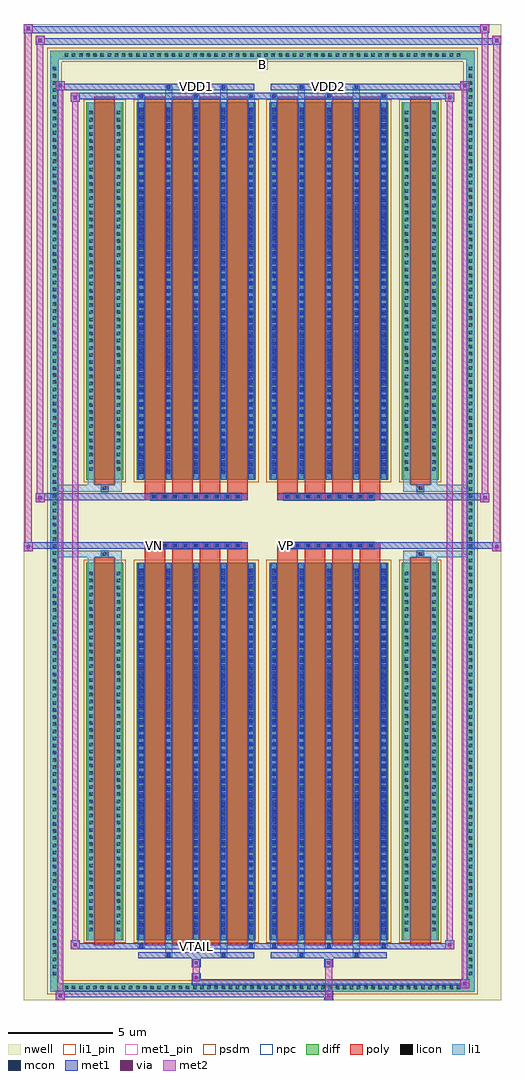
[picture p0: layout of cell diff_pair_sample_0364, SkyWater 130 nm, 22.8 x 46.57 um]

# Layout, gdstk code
import gdstk
lib = gdstk.Library(unit=1e-6, precision=5e-09)
def R(c, l, rs):  # rectangles x0, y0, x1, y1
    for r in rs: c.add(gdstk.rectangle(r[:2], r[2:], *l))
def A(c, l, x, y, w, h, nx, ny, dx, dy):  # array of equal rectangles
    R(c, l, [(x+i*dx, y+j*dy, x+i*dx+w, y+j*dy+h) for i in range(nx) for j in range(ny)])
def P(c, l, *ps):  # polygons
    for p in ps: c.add(gdstk.Polygon(p, *l))
nwell = (64, 20)
diff = (65, 20)
poly = (66, 20)
licon = (66, 44)
li1_pin = (67, 16)
li1 = (67, 20)
mcon = (67, 44)
met1_pin = (68, 16)
met1 = (68, 20)
via = (68, 44)
met2 = (69, 20)
psdm = (94, 20)
npc = (95, 20)

diff_pair_sample_0364 = lib.new_cell('diff_pair_sample_0364')
R(diff_pair_sample_0364, nwell, [(-11.4,-22.85,11.4,23.72), (-8.72,-21.04,-0.01,-0.8), (0.01,-21.04,8.72,-0.8), (-8.72,0.8,-0.01,21.04), (0.01,0.8,8.72,21.04)])
A(diff_pair_sample_0364, diff, -9.555, -22.45, 0.41, 0.41, 56, 2, 0.34, 44.49)
A(diff_pair_sample_0364, diff, -10.13, -21.795, 0.41, 0.41, 1, 128, 0, 0.34)
A(diff_pair_sample_0364, diff, 9.72, -21.795, 0.41, 0.41, 1, 128, 0, 0.34)
R(diff_pair_sample_0364, diff, [(-9.555,-22.45,9.555,-22.04), (-10.13,-21.795,-9.72,21.795), (9.72,-21.795,10.13,21.795), (-8.41,-19.995,-6.65,-1.985), (-6.01,-19.995,-0.32,-1.985), (0.32,-19.995,6.01,-1.985), (6.65,-19.995,8.41,-1.985), (-8.41,1.985,-6.65,19.995), (-6.01,1.985,-0.32,19.995), (0.32,1.985,6.01,19.995), (6.65,1.985,8.41,19.995), (-9.555,22.04,9.555,22.45)])
P(diff_pair_sample_0364, diff, [(10.13,22.45),(-10.13,22.45),(-10.13,-22.04),(-9.72,-22.04),(-9.72,22.04),(9.72,22.04),(9.72,-22.04),(-9.72,-22.04),(-10.13,-22.04),(-10.13,-22.45),(10.13,-22.45)])
A(diff_pair_sample_0364, poly, -5.62, -20.245, 0.98, 18.51, 4, 2, 1.31, 21.98)
A(diff_pair_sample_0364, poly, 0.71, -20.245, 0.98, 18.51, 4, 2, 1.31, 21.98)
A(diff_pair_sample_0364, poly, -5.62, -1.735, 0.98, 0.405, 4, 2, 1.31, 3.065)
A(diff_pair_sample_0364, poly, 0.71, -1.735, 0.98, 0.405, 4, 2, 1.31, 3.065)
A(diff_pair_sample_0364, poly, -5.33, -1.33, 0.33, 0.33, 9, 2, 0.5, 2.33)
A(diff_pair_sample_0364, poly, 1, -1.33, 0.33, 0.33, 9, 2, 0.5, 2.33)
R(diff_pair_sample_0364, poly, [(-8.02,-20.245,-7.04,-1.735), (7.04,-20.245,8.02,-1.735), (-7.695,-1.735,-7.365,-1.405), (-7.695,-1.735,-7.365,-1.405), (7.365,-1.735,7.695,-1.405), (7.365,-1.735,7.695,-1.405), (-5.62,-1.33,-0.71,-1), (0.71,-1.33,5.62,-1), (-5.62,1,-0.71,1.33), (0.71,1,5.62,1.33), (-7.695,1.405,-7.365,1.735), (-7.695,1.405,-7.365,1.735), (7.365,1.405,7.695,1.735), (7.365,1.405,7.695,1.735), (-8.02,1.735,-7.04,20.245), (7.04,1.735,8.02,20.245)])
A(diff_pair_sample_0364, licon, -9.435, -22.33, 0.17, 0.17, 56, 2, 0.34, 44.49)
A(diff_pair_sample_0364, licon, -10.01, -21.675, 0.17, 0.17, 1, 128, 0, 0.34)
A(diff_pair_sample_0364, licon, 9.84, -21.675, 0.17, 0.17, 1, 128, 0, 0.34)
A(diff_pair_sample_0364, licon, -8.27, -19.575, 0.17, 0.17, 1, 51, 0, 0.34)
A(diff_pair_sample_0364, licon, -6.96, -19.575, 0.17, 0.17, 1, 51, 0, 0.34)
A(diff_pair_sample_0364, licon, -5.87, -19.575, 0.17, 0.17, 5, 51, 1.31, 0.34)
A(diff_pair_sample_0364, licon, 0.46, -19.575, 0.17, 0.17, 5, 51, 1.31, 0.34)
A(diff_pair_sample_0364, licon, 6.79, -19.575, 0.17, 0.17, 1, 51, 0, 0.34)
A(diff_pair_sample_0364, licon, 8.1, -19.575, 0.17, 0.17, 1, 51, 0, 0.34)
A(diff_pair_sample_0364, licon, -5.25, -1.25, 0.17, 0.17, 9, 2, 0.5, 2.33)
A(diff_pair_sample_0364, licon, 1.08, -1.25, 0.17, 0.17, 9, 2, 0.5, 2.33)
A(diff_pair_sample_0364, licon, -8.27, 2.405, 0.17, 0.17, 1, 51, 0, 0.34)
A(diff_pair_sample_0364, licon, -6.96, 2.405, 0.17, 0.17, 1, 51, 0, 0.34)
A(diff_pair_sample_0364, licon, -5.87, 2.405, 0.17, 0.17, 5, 51, 1.31, 0.34)
A(diff_pair_sample_0364, licon, 0.46, 2.405, 0.17, 0.17, 5, 51, 1.31, 0.34)
A(diff_pair_sample_0364, licon, 6.79, 2.405, 0.17, 0.17, 1, 51, 0, 0.34)
A(diff_pair_sample_0364, licon, 8.1, 2.405, 0.17, 0.17, 1, 51, 0, 0.34)
R(diff_pair_sample_0364, licon, [(-7.615,-1.655,-7.445,-1.485), (7.445,-1.655,7.615,-1.485), (-7.615,1.485,-7.445,1.655), (7.445,1.485,7.615,1.655)])
R(diff_pair_sample_0364, li1_pin, [(-0.25,21.54,0.25,22.04)])
A(diff_pair_sample_0364, li1, -9.515, -22.41, 0.33, 0.33, 56, 2, 0.34, 44.49)
A(diff_pair_sample_0364, li1, -10.09, -21.755, 0.33, 0.33, 1, 128, 0, 0.34)
A(diff_pair_sample_0364, li1, 9.76, -21.755, 0.33, 0.33, 1, 128, 0, 0.34)
A(diff_pair_sample_0364, li1, -5.95, -20.37, 0.33, 0.375, 3, 2, 2.62, 40.365)
A(diff_pair_sample_0364, li1, -5.87, -20.37, 0.17, 0.17, 3, 2, 2.62, 40.57)
A(diff_pair_sample_0364, li1, 0.38, -20.37, 0.33, 0.375, 3, 2, 2.62, 40.365)
A(diff_pair_sample_0364, li1, 0.46, -20.37, 0.17, 0.17, 3, 2, 2.62, 40.57)
A(diff_pair_sample_0364, li1, -5.95, -19.995, 0.33, 18.01, 5, 2, 1.31, 21.98)
A(diff_pair_sample_0364, li1, 0.38, -19.995, 0.33, 18.01, 5, 2, 1.31, 21.98)
A(diff_pair_sample_0364, li1, -5.87, -19.715, 0.17, 0.17, 5, 49, 1.31, 0.36)
A(diff_pair_sample_0364, li1, -5.87, -19.715, 0.17, 17.45, 5, 2, 1.31, 21.98)
A(diff_pair_sample_0364, li1, 0.46, -19.715, 0.17, 0.17, 5, 49, 1.31, 0.36)
A(diff_pair_sample_0364, li1, 0.46, -19.715, 0.17, 17.45, 5, 2, 1.31, 21.98)
A(diff_pair_sample_0364, li1, -8.35, -19.655, 0.33, 0.33, 1, 51, 0, 0.34)
A(diff_pair_sample_0364, li1, -7.04, -19.655, 0.33, 0.33, 1, 51, 0, 0.34)
A(diff_pair_sample_0364, li1, -5.95, -19.655, 0.33, 0.33, 5, 51, 1.31, 0.34)
A(diff_pair_sample_0364, li1, 0.38, -19.655, 0.33, 0.33, 5, 51, 1.31, 0.34)
A(diff_pair_sample_0364, li1, 6.71, -19.655, 0.33, 0.33, 1, 51, 0, 0.34)
A(diff_pair_sample_0364, li1, 8.02, -19.655, 0.33, 0.33, 1, 51, 0, 0.34)
A(diff_pair_sample_0364, li1, -5.33, -1.33, 0.33, 0.33, 9, 2, 0.5, 2.33)
A(diff_pair_sample_0364, li1, 1, -1.33, 0.33, 0.33, 9, 2, 0.5, 2.33)
A(diff_pair_sample_0364, li1, -5.87, 2.265, 0.17, 0.17, 5, 49, 1.31, 0.36)
A(diff_pair_sample_0364, li1, 0.46, 2.265, 0.17, 0.17, 5, 49, 1.31, 0.36)
A(diff_pair_sample_0364, li1, -8.35, 2.325, 0.33, 0.33, 1, 51, 0, 0.34)
A(diff_pair_sample_0364, li1, -7.04, 2.325, 0.33, 0.33, 1, 51, 0, 0.34)
A(diff_pair_sample_0364, li1, -5.95, 2.325, 0.33, 0.33, 5, 51, 1.31, 0.34)
A(diff_pair_sample_0364, li1, 0.38, 2.325, 0.33, 0.33, 5, 51, 1.31, 0.34)
A(diff_pair_sample_0364, li1, 6.71, 2.325, 0.33, 0.33, 1, 51, 0, 0.34)
A(diff_pair_sample_0364, li1, 8.02, 2.325, 0.33, 0.33, 1, 51, 0, 0.34)
R(diff_pair_sample_0364, li1, [(-10.13,-22.45,-9.72,-22.04), (-10.13,-22.45,-9.72,-22.04), (-9.72,-22.45,9.72,-22.04), (9.72,-22.45,10.13,-22.04), (9.72,-22.45,10.13,-22.04), (-10.13,-22.04,-9.72,22.04), (9.72,-22.04,10.13,22.04), (-4.64,-20.8,-4.31,-19.995), (-4.56,-20.8,-4.39,-20.63), (-2.02,-20.8,-1.69,-19.995), (-1.94,-20.8,-1.77,-20.63), (1.69,-20.8,2.02,-19.995), (1.77,-20.8,1.94,-20.63), (4.31,-20.8,4.64,-19.995), (4.39,-20.8,4.56,-20.63), (-8.35,-19.995,-8.02,-1.985), (-7.04,-19.995,-6.71,-1.985), (6.71,-19.995,7.04,-1.985), (8.02,-19.995,8.35,-1.985), (-8.35,-1.985,-8.02,-1.405), (-7.04,-1.985,-6.71,-1.405), (6.71,-1.985,7.04,-1.405), (8.02,-1.985,8.35,-1.405), (-10.13,-1.735,-7.695,-1.405), (-8.35,-1.735,-7.695,-1.405), (-7.695,-1.735,-7.365,-1.405), (-7.365,-1.735,-6.71,-1.405), (6.71,-1.735,7.365,-1.405), (7.365,-1.735,7.695,-1.405), (7.365,-1.735,10.13,-1.405), (7.695,-1.735,8.35,-1.405), (-10.13,1.405,-7.695,1.735), (-8.35,1.405,-7.695,1.735), (-8.35,1.405,-8.02,1.985), (-7.695,1.405,-7.365,1.735), (-7.365,1.405,-6.71,1.735), (-7.04,1.405,-6.71,1.985), (6.71,1.405,7.365,1.735), (6.71,1.405,7.04,1.985), (7.365,1.405,7.695,1.735), (7.365,1.405,10.13,1.735), (7.695,1.405,8.35,1.735), (8.02,1.405,8.35,1.985), (-8.35,1.985,-8.02,19.995), (-7.04,1.985,-6.71,19.995), (6.71,1.985,7.04,19.995), (8.02,1.985,8.35,19.995), (-4.64,19.995,-4.31,20.8), (-2.02,19.995,-1.69,20.8), (1.69,19.995,2.02,20.8), (4.31,19.995,4.64,20.8), (-4.56,20.63,-4.39,20.8), (-1.94,20.63,-1.77,20.8), (1.77,20.63,1.94,20.8), (4.39,20.63,4.56,20.8), (-10.13,22.04,-9.72,22.45), (-10.13,22.04,-9.72,22.45), (-9.72,22.04,9.72,22.45), (9.72,22.04,10.13,22.45), (9.72,22.04,10.13,22.45)])
A(diff_pair_sample_0364, mcon, -5.87, -20.37, 0.17, 0.17, 3, 2, 2.62, 40.57)
A(diff_pair_sample_0364, mcon, 0.46, -20.37, 0.17, 0.17, 3, 2, 2.62, 40.57)
A(diff_pair_sample_0364, mcon, -5.87, -19.715, 0.17, 0.17, 5, 49, 1.31, 0.36)
A(diff_pair_sample_0364, mcon, 0.46, -19.715, 0.17, 0.17, 5, 49, 1.31, 0.36)
A(diff_pair_sample_0364, mcon, -5.25, -1.25, 0.17, 0.17, 9, 2, 0.5, 2.33)
A(diff_pair_sample_0364, mcon, 1.08, -1.25, 0.17, 0.17, 9, 2, 0.5, 2.33)
A(diff_pair_sample_0364, mcon, -5.87, 2.265, 0.17, 0.17, 5, 49, 1.31, 0.36)
A(diff_pair_sample_0364, mcon, 0.46, 2.265, 0.17, 0.17, 5, 49, 1.31, 0.36)
R(diff_pair_sample_0364, mcon, [(-4.56,-20.8,-4.39,-20.63), (-1.94,-20.8,-1.77,-20.63), (1.77,-20.8,1.94,-20.63), (4.39,-20.8,4.56,-20.63), (-4.56,20.63,-4.39,20.8), (-1.94,20.63,-1.77,20.8), (1.77,20.63,1.94,20.8), (4.39,20.63,4.56,20.8)])
R(diff_pair_sample_0364, met1_pin, [(-3.3,-20.41,-3.03,-20.14), (-5.3,-1.29,-5.03,-1.02), (1.03,-1.29,1.3,-1.02), (-3.3,20.59,-3.03,20.86), (3.03,20.59,3.3,20.86)])
A(diff_pair_sample_0364, met1, -5.93, -20.43, 0.29, 0.29, 3, 2, 2.62, 40.57)
A(diff_pair_sample_0364, met1, 0.4, -20.43, 0.29, 0.29, 3, 2, 2.62, 40.57)
A(diff_pair_sample_0364, met1, -5.93, -19.995, 0.29, 18.01, 5, 2, 1.31, 21.98)
A(diff_pair_sample_0364, met1, 0.4, -19.995, 0.29, 18.01, 5, 2, 1.31, 21.98)
A(diff_pair_sample_0364, met1, -5.93, -19.775, 0.29, 0.29, 5, 49, 1.31, 0.36)
A(diff_pair_sample_0364, met1, 0.4, -19.775, 0.29, 0.29, 5, 49, 1.31, 0.36)
A(diff_pair_sample_0364, met1, -5.31, -1.31, 0.29, 0.29, 9, 2, 0.5, 2.33)
A(diff_pair_sample_0364, met1, 1.02, -1.31, 0.29, 0.29, 9, 2, 0.5, 2.33)
A(diff_pair_sample_0364, met1, -5.93, 2.205, 0.29, 0.29, 5, 49, 1.31, 0.36)
A(diff_pair_sample_0364, met1, 0.4, 2.205, 0.29, 0.29, 5, 49, 1.31, 0.36)
R(diff_pair_sample_0364, met1, [(-9.86,-22.85,-9.43,-22.42), (2.95,-22.85,3.38,-22.42), (-9.86,-22.71,3.38,-22.42), (9.43,-22.28,9.86,-21.85), (-3.38,-22.14,9.86,-21.85), (-3.38,-22,-2.95,-21.57), (-3.38,-21.29,-2.95,-20.86), (2.95,-21.29,3.38,-20.86), (-5.93,-20.86,-0.4,-20.57), (-4.62,-20.86,-4.33,-20.57), (-2,-20.86,-1.71,-20.57), (0.4,-20.86,5.93,-20.57), (1.71,-20.86,2,-20.57), (4.33,-20.86,4.62,-20.57), (-9.15,-20.43,-8.72,-20), (-9.15,-20.43,-5.93,-20.14), (-5.93,-20.43,-0.4,-20.14), (-0.4,-20.43,0.4,-20.14), (0.4,-20.43,5.93,-20.14), (5.93,-20.43,9.15,-20.14), (8.72,-20.43,9.15,-20), (-11.4,-1.43,-10.97,-1), (10.97,-1.43,11.4,-1), (-11.4,-1.33,-0.71,-1), (-5.62,-1.33,-0.71,-1), (0.71,-1.33,5.62,-1), (0.71,-1.33,11.4,-1), (-10.83,0.9,-10.4,1.33), (10.4,0.9,10.83,1.33), (-10.83,1,-5.62,1.33), (-5.62,1,-0.71,1.33), (0.71,1,5.62,1.33), (5.62,1,10.83,1.33), (-9.15,20,-8.72,20.43), (8.72,20,9.15,20.43), (-9.15,20.14,-5.93,20.43), (-5.93,20.14,-0.4,20.43), (-0.4,20.14,0.4,20.43), (0.4,20.14,5.93,20.43), (5.93,20.14,9.15,20.43), (-9.86,20.57,-9.43,21), (-9.86,20.57,-5.93,20.86), (-5.93,20.57,-0.4,20.86), (-4.62,20.57,-4.33,20.86), (-2,20.57,-1.71,20.86), (0.4,20.57,5.93,20.86), (1.71,20.57,2,20.86), (4.33,20.57,4.62,20.86), (5.93,20.57,9.86,20.86), (9.43,20.57,9.86,21), (-10.83,22.72,-10.4,23.15), (-10.83,22.72,-8.72,23.05), (-8.72,22.72,8.72,23.05), (8.72,22.72,11.4,23.05), (10.97,22.72,11.4,23.15), (-11.4,23.29,-10.97,23.72), (-11.4,23.29,-8.72,23.62), (-8.72,23.29,8.72,23.62), (8.72,23.29,10.83,23.62), (10.4,23.29,10.83,23.72)])
R(diff_pair_sample_0364, via, [(-9.72,-22.71,-9.57,-22.56), (3.09,-22.71,3.24,-22.56), (9.57,-22.14,9.72,-21.99), (-3.24,-21.86,-3.09,-21.71), (-3.24,-21.15,-3.09,-21), (3.09,-21.15,3.24,-21), (-9.01,-20.29,-8.86,-20.14), (8.86,-20.29,9.01,-20.14), (-11.26,-1.29,-11.11,-1.14), (11.11,-1.29,11.26,-1.14), (-10.69,1.04,-10.54,1.19), (10.54,1.04,10.69,1.19), (-9.01,20.14,-8.86,20.29), (8.86,20.14,9.01,20.29), (-9.72,20.71,-9.57,20.86), (9.57,20.71,9.72,20.86), (-10.69,22.86,-10.54,23.01), (11.11,22.86,11.26,23.01), (-11.26,23.43,-11.11,23.58), (10.54,23.43,10.69,23.58)])
R(diff_pair_sample_0364, met2, [(-9.86,-22.85,-9.43,-22.42), (-9.79,-22.85,-9.5,21), (-9.5,-22.85,-9.43,-22.42), (-9.81,-22.8,-9.48,-22.47), (3,-22.8,3.33,-22.47), (3,-22.47,3.33,-21.24), (9.43,-22.28,9.86,-21.85), (9.5,-22.28,9.79,21), (9.79,-22.28,9.86,-21.85), (9.48,-22.23,9.81,-21.9), (-3.33,-21.95,-3,-21.62), (-3.33,-21.62,-3,-21.24), (-3.33,-21.24,-3,-20.91), (3,-21.24,3.33,-20.91), (-9.15,-20.43,-8.72,-20), (-9.08,-20.43,-8.79,20.43), (-8.79,-20.43,-8.72,-20), (8.72,-20.43,9.15,-20), (8.79,-20.43,9.08,20.43), (9.08,-20.43,9.15,-20), (-9.1,-20.38,-8.77,-20.05), (8.77,-20.38,9.1,-20.05), (-11.4,-1.43,-10.97,-1), (-11.35,-1.43,-11.02,23.72), (-11.02,-1.43,-10.97,-1), (10.97,-1.43,11.4,-1), (11.02,-1.43,11.35,23.15), (11.35,-1.43,11.4,-1), (-11.35,-1.38,-11.02,-1.05), (11.02,-1.38,11.35,-1.05), (-10.83,0.9,-10.4,1.33), (-10.78,0.9,-10.45,23.15), (-10.45,0.9,-10.4,1.33), (10.4,0.9,10.83,1.33), (10.45,0.9,10.78,23.72), (10.78,0.9,10.83,1.33), (-10.78,0.95,-10.45,1.28), (10.45,0.95,10.78,1.28), (-9.15,20,-8.72,20.43), (-8.79,20,-8.72,20.43), (8.72,20,9.15,20.43), (9.08,20,9.15,20.43), (-9.1,20.05,-8.77,20.38), (8.77,20.05,9.1,20.38), (-9.86,20.57,-9.43,21), (-9.5,20.57,-9.43,21), (9.43,20.57,9.86,21), (9.79,20.57,9.86,21), (-9.81,20.62,-9.48,20.95), (9.48,20.62,9.81,20.95), (-10.83,22.72,-10.4,23.15), (-10.45,22.72,-10.4,23.15), (10.97,22.72,11.4,23.15), (11.35,22.72,11.4,23.15), (-10.78,22.77,-10.45,23.1), (11.02,22.77,11.35,23.1), (-11.4,23.29,-10.97,23.72), (-11.02,23.29,-10.97,23.72), (10.4,23.29,10.83,23.72), (10.78,23.29,10.83,23.72), (-11.35,23.34,-11.02,23.67), (10.45,23.34,10.78,23.67)])
R(diff_pair_sample_0364, psdm, [(-8.54,-20.125,-6.52,-1.855), (-6.14,-20.125,-0.19,-1.855), (0.19,-20.125,6.14,-1.855), (6.52,-20.125,8.54,-1.855), (-8.54,1.855,-6.52,20.125), (-6.14,1.855,-0.19,20.125), (0.19,1.855,6.14,20.125), (6.52,1.855,8.54,20.125)])
P(diff_pair_sample_0364, psdm, [(10.26,22.58),(-10.26,22.58),(-10.26,-21.91),(-9.59,-21.91),(-9.59,21.91),(9.59,21.91),(9.59,-21.91),(-9.59,-21.91),(-10.26,-21.91),(-10.26,-22.58),(10.26,-22.58)])
A(diff_pair_sample_0364, npc, -5.35, -1.35, 0.37, 0.37, 9, 2, 0.5, 2.33)
A(diff_pair_sample_0364, npc, 0.98, -1.35, 0.37, 0.37, 9, 2, 0.5, 2.33)
R(diff_pair_sample_0364, npc, [(-7.715,-1.755,-7.345,-1.385), (7.345,-1.755,7.715,-1.385), (-5.35,-1.35,-4.48,-0.98), (-5.35,-1.35,-4.48,-0.98), (-4.85,-1.35,-3.98,-0.98), (-4.85,-1.35,-3.98,-0.98), (-4.35,-1.35,-3.48,-0.98), (-4.35,-1.35,-3.48,-0.98), (-3.85,-1.35,-2.98,-0.98), (-3.85,-1.35,-2.98,-0.98), (-3.35,-1.35,-2.48,-0.98), (-3.35,-1.35,-2.48,-0.98), (-2.85,-1.35,-1.98,-0.98), (-2.85,-1.35,-1.98,-0.98), (-2.35,-1.35,-1.48,-0.98), (-2.35,-1.35,-1.48,-0.98), (-1.85,-1.35,-0.98,-0.98), (-1.85,-1.35,-0.98,-0.98), (0.98,-1.35,1.85,-0.98), (0.98,-1.35,1.85,-0.98), (1.48,-1.35,2.35,-0.98), (1.48,-1.35,2.35,-0.98), (1.98,-1.35,2.85,-0.98), (1.98,-1.35,2.85,-0.98), (2.48,-1.35,3.35,-0.98), (2.48,-1.35,3.35,-0.98), (2.98,-1.35,3.85,-0.98), (2.98,-1.35,3.85,-0.98), (3.48,-1.35,4.35,-0.98), (3.48,-1.35,4.35,-0.98), (3.98,-1.35,4.85,-0.98), (3.98,-1.35,4.85,-0.98), (4.48,-1.35,5.35,-0.98), (4.48,-1.35,5.35,-0.98), (-5.35,0.98,-4.48,1.35), (-5.35,0.98,-4.48,1.35), (-4.85,0.98,-3.98,1.35), (-4.85,0.98,-3.98,1.35), (-4.35,0.98,-3.48,1.35), (-4.35,0.98,-3.48,1.35), (-3.85,0.98,-2.98,1.35), (-3.85,0.98,-2.98,1.35), (-3.35,0.98,-2.48,1.35), (-3.35,0.98,-2.48,1.35), (-2.85,0.98,-1.98,1.35), (-2.85,0.98,-1.98,1.35), (-2.35,0.98,-1.48,1.35), (-2.35,0.98,-1.48,1.35), (-1.85,0.98,-0.98,1.35), (-1.85,0.98,-0.98,1.35), (0.98,0.98,1.85,1.35), (0.98,0.98,1.85,1.35), (1.48,0.98,2.35,1.35), (1.48,0.98,2.35,1.35), (1.98,0.98,2.85,1.35), (1.98,0.98,2.85,1.35), (2.48,0.98,3.35,1.35), (2.48,0.98,3.35,1.35), (2.98,0.98,3.85,1.35), (2.98,0.98,3.85,1.35), (3.48,0.98,4.35,1.35), (3.48,0.98,4.35,1.35), (3.98,0.98,4.85,1.35), (3.98,0.98,4.85,1.35), (4.48,0.98,5.35,1.35), (4.48,0.98,5.35,1.35), (-7.715,1.385,-7.345,1.755), (7.345,1.385,7.715,1.755)])
diff_pair_sample_0364.add(gdstk.Label('VTAIL', (-3.165,-20.275), layer=68, texttype=5))
diff_pair_sample_0364.add(gdstk.Label('VN', (-5.165,-1.155), layer=68, texttype=5))
diff_pair_sample_0364.add(gdstk.Label('VP', (1.165,-1.155), layer=68, texttype=5))
diff_pair_sample_0364.add(gdstk.Label('B', (0,21.79), layer=67, texttype=5))
diff_pair_sample_0364.add(gdstk.Label('VDD2', (3.165,20.725), layer=68, texttype=5))
diff_pair_sample_0364.add(gdstk.Label('VDD1', (-3.165,20.725), layer=68, texttype=5))

lib.write_gds('diff_pair_sample_0364.gds')
